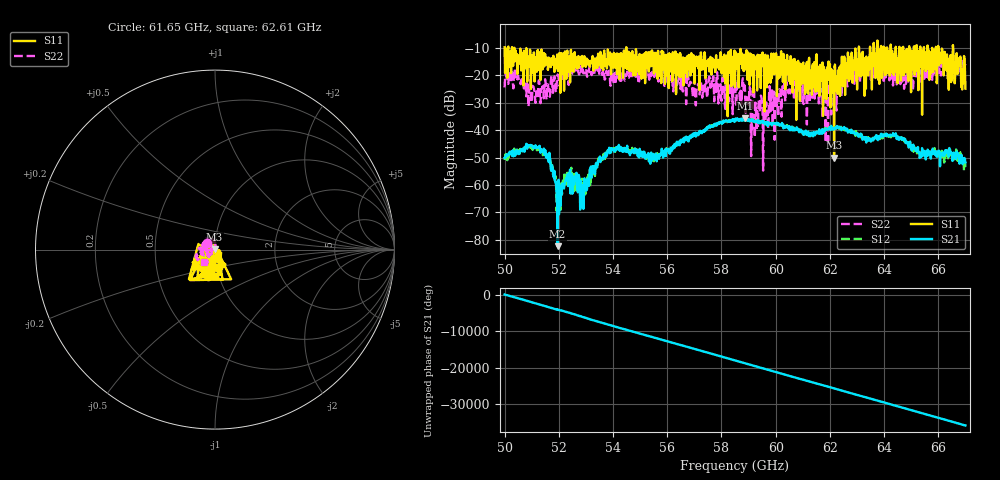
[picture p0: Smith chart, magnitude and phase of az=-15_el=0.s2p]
!Created with skrf (http://scikit-rf.org).
# GHz S RI R 50.0
!freq ReS11 ImS11 ReS21 ImS21 ReS12 ImS12 ReS22 ImS22
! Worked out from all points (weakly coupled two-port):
!   1001 points, 50 GHz to 67 GHz, reference 50 ohm
!   highest |S21| = -35.63 dB at 58.87 GHz (marker M1); lowest = -82.3 dB at 51.95 GHz (marker M2)
!   lowest |S11| = -50.1 dB at 62.16 GHz (marker M3), VSWR 1.01, Z = 49.8 + j0.21 ohm
!   |S11| at or under -10 dB: 50.36 GHz to 54.49 GHz (4.13 GHz wide, 7.88 % of centre); 54.49 GHz to 63.07 GHz (8.582 GHz wide, 14.6 % of centre); 66.01 GHz to 66.54 GHz (533 MHz wide, 0.804 % of centre) (the widest 3 of 28)
!   |S22| runs from -54.7 to -13.8 dB; largest |S21 - S12| = 0.0026
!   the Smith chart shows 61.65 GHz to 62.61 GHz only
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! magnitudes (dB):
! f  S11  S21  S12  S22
! 50 GHz  -9.8  -50.1  -50.8  -24.4
! 51.43 GHz  -12.8  -47.8  -48.7  -25.2
! 51.73 GHz  -14.9  -53.0  -52.9  -20.1
! 51.95 GHz  -13.1  -82.3  -65.4  -19.7
! 52.33 GHz  -17.9  -56.8  -57.1  -18.5
! 52.84 GHz  -13.8  -62.1  -58.1  -19.3
! 53.89 GHz  -11.7  -47.0  -46.6  -22.6
! 55.68 GHz  -13.5  -48.9  -48.8  -22.3
! 57 GHz  -22.9  -42.0  -41.5  -21.6
! 57.62 GHz  -16.0  -38.4  -38.8  -21.9
! 58.5 GHz  -24.3  -36.2  -36.4  -24.6
! 58.87 GHz  -15.7  -35.6  -36.5  -26.5
! 59.04 GHz  -23.5  -36.8  -36.8  -24.2
! 59.62 GHz  -12.5  -37.1  -37.8  -36.7
! 60.34 GHz  -14.4  -38.7  -38.2  -25.2
! 61.34 GHz  -27.1  -41.0  -41.3  -25.8
! 61.88 GHz  -28.7  -39.5  -39.5  -23.3
! 62.16 GHz  -50.1  -39.5  -39.0  -27.9
! 63.01 GHz  -25.2  -41.6  -41.3  -20.1
! 64.18 GHz  -18.7  -41.9  -41.9  -18.6
! 66.08 GHz  -15.4  -48.4  -50.0  -15.7
! 67 GHz  -24.8  -51.7  -53.7  -15.8
